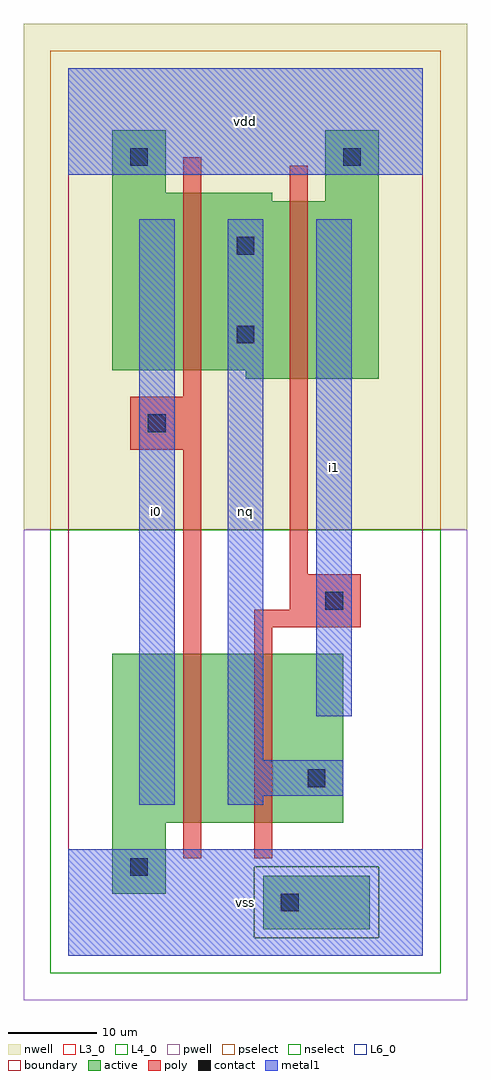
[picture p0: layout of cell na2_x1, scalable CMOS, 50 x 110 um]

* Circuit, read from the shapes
.subckt na2_x1 i0 i1 nq vdd vss
M1 n1 i0 vss vss nfet w=19u l=2u
M2 nq i1 n1 vss nfet w=19u l=2u
M3 nq i0 vdd n2 pfet w=20u l=2u
M4 vdd i1 nq n2 pfet w=20u l=2u
.ends

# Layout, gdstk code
import gdstk
lib = gdstk.Library(unit=1e-6, precision=1e-09)
def R(c, l, rs):  # rectangles x0, y0, x1, y1
    for r in rs: c.add(gdstk.rectangle(r[:2], r[2:], *l))
L3_0 = (3, 0)
L4_0 = (4, 0)
L6_0 = (6, 0)
contact = (25, 0)
pwell = (41, 0)
nwell = (42, 0)
active = (43, 0)
pselect = (44, 0)
nselect = (45, 0)
poly = (46, 0)
metal1 = (49, 0)
boundary = (63, 0)

na2_x1 = lib.new_cell('na2_x1')
R(na2_x1, L3_0, [(5,7,11,15), (5,15,31,34)])
R(na2_x1, L4_0, [(20,65,35,66), (5,66,35,85), (5,85,23,86), (29,85,35,93), (5,86,11,93)])
R(na2_x1, L6_0, [(22,3,34,9)])
R(na2_x1, contact, [(24,5,26,7), (7,9,9,11), (27,19,29,21), (29,39,31,41), (9,59,11,61), (19,69,21,71), (19,79,21,81), (7,89,9,91), (31,89,33,91)])
R(na2_x1, pwell, [(-5,-5,45,48)])
R(na2_x1, nwell, [(-5,48,45,105)])
R(na2_x1, active, [(22,3,34,9), (5,7,11,15), (5,15,31,34), (20,65,35,66), (5,66,35,85), (5,85,23,86), (29,85,35,93), (5,86,11,93)])
R(na2_x1, pselect, [(21,2,35,10), (-2,48,42,102)])
R(na2_x1, nselect, [(-2,-2,42,2), (-2,2,21,10), (35,2,42,10), (-2,10,42,48)])
R(na2_x1, poly, [(13,11,15,57), (21,11,23,37), (21,37,33,39), (25,39,33,43), (25,43,27,89), (7,57,15,63), (13,63,15,90)])
R(na2_x1, metal1, [(0,0,40,12), (8,17,12,83), (18,17,22,18), (18,18,31,22), (18,22,22,83), (28,27,32,83), (0,88,40,100)])
R(na2_x1, boundary, [(0,0,40,100)])
na2_x1.add(gdstk.Label('vss', (20,6), layer=49, texttype=0))
na2_x1.add(gdstk.Label('i0', (10,50), layer=49, texttype=0))
na2_x1.add(gdstk.Label('nq', (20,50), layer=49, texttype=0))
na2_x1.add(gdstk.Label('vdd', (20,94), layer=49, texttype=0))
na2_x1.add(gdstk.Label('i1', (30,55), layer=49, texttype=0))

lib.write_gds('na2_x1.gds')
